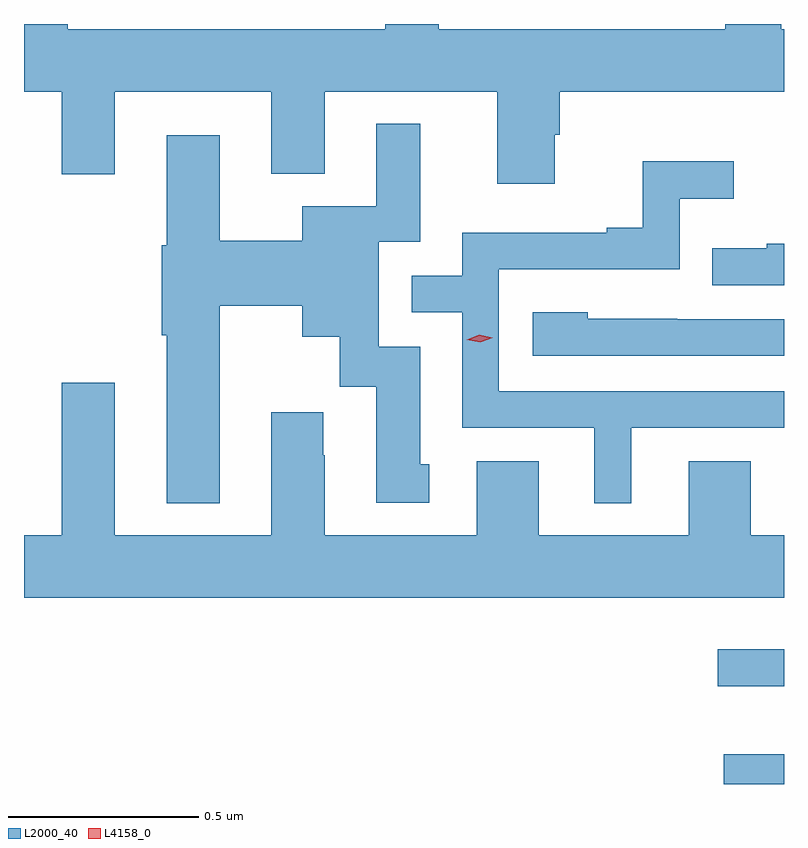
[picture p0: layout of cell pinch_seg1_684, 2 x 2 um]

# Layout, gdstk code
import gdstk
lib = gdstk.Library(unit=1e-6, precision=1e-09)
def R(c, l, rs):  # rectangles x0, y0, x1, y1
    for r in rs: c.add(gdstk.rectangle(r[:2], r[2:], *l))
def P(c, l, *ps):  # polygons
    for p in ps: c.add(gdstk.Polygon(p, *l))
L2000_40 = (2000, 40)
L4158_0 = (4158, 0)

pinch_seg1_684 = lib.new_cell('pinch_seg1_684')
R(pinch_seg1_684, L2000_40, [(862.424,564.562,862.582,564.64), (862.407,564.819,862.582,564.916)])
P(pinch_seg1_684, L2000_40, [(861.979,566.271),(861.992,566.271),(861.992,566.384),(862.582,566.384),(862.582,566.548),(862.575,566.548),(862.575,566.562),(862.427,566.562),(862.427,566.548),(861.673,566.548),(861.673,566.562),(861.533,566.562),(861.533,566.548),(860.697,566.548),(860.697,566.562),(860.582,566.562),(860.582,566.384),(860.681,566.384),(860.681,566.166),(860.821,566.166),(860.821,566.384),(861.233,566.384),(861.233,566.168),(861.373,566.168),(861.373,566.384),(861.827,566.384),(861.827,566.142),(861.979,566.142)],
  [(861.097,565.82),(861.314,565.82),(861.314,565.739),(861.413,565.739),(861.413,565.608),(861.509,565.608),(861.509,565.302),(861.649,565.302),(861.649,565.404),(861.625,565.404),(861.625,565.713),(861.516,565.713),(861.516,565.989),(861.625,565.989),(861.625,566.299),(861.509,566.299),(861.509,566.083),(861.314,566.083),(861.314,565.992),(861.097,565.992),(861.097,566.269),(860.957,566.269),(860.957,565.98),(860.945,565.98),(860.945,565.743),(860.957,565.743),(860.957,565.301),(861.097,565.301)],
  [(862.18,565.5),(862.582,565.5),(862.582,565.596),(861.831,565.596),(861.831,565.917),(862.308,565.917),(862.308,566.102),(862.45,566.102),(862.45,566.201),(862.21,566.201),(862.21,566.026),(862.115,566.026),(862.115,566.013),(861.735,566.013),(861.735,565.899),(861.602,565.899),(861.602,565.803),(861.735,565.803),(861.735,565.5),(862.082,565.5),(862.082,565.301),(862.18,565.301)],
  [(862.582,565.984),(862.537,565.984),(862.537,565.972),(862.393,565.972),(862.393,565.875),(862.582,565.875)],
  [(862.582,565.785),(862.301,565.785),(862.301,565.786),(862.065,565.786),(862.065,565.804),(861.921,565.804),(861.921,565.689),(862.582,565.689)],
  [(862.582,565.216),(862.495,565.216),(862.495,565.411),(862.331,565.411),(862.331,565.216),(861.937,565.216),(861.937,565.411),(861.773,565.411),(861.773,565.216),(861.373,565.216),(861.373,565.427),(861.37,565.427),(861.37,565.54),(861.233,565.54),(861.233,565.216),(860.821,565.216),(860.821,565.618),(860.681,565.618),(860.681,565.216),(860.582,565.216),(860.582,565.052),(862.582,565.052)])
P(pinch_seg1_684, L4158_0, [(861.782,565.724),(861.747,565.731),(861.746,565.731),(861.747,565.731),(861.78,565.744),(861.815,565.736),(861.815,565.736),(861.815,565.736)])

lib.write_gds('pinch_seg1_684.gds')
